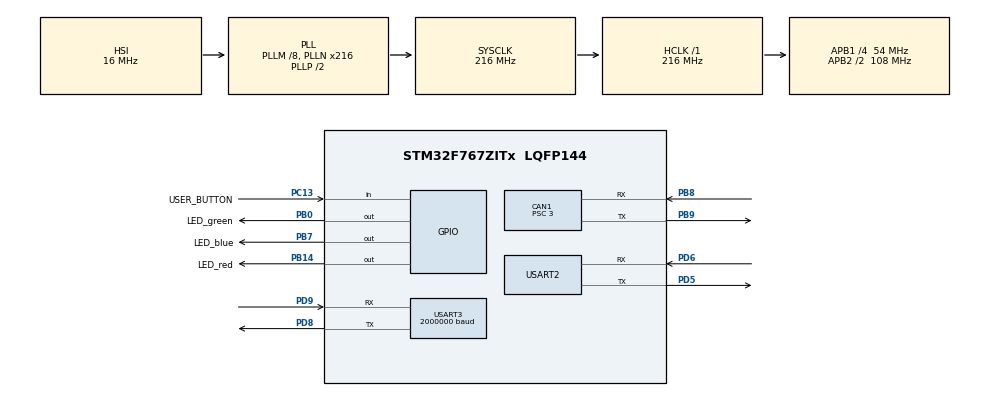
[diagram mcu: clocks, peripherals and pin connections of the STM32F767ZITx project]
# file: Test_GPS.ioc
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CAN1.AWUM=ENABLE
CAN1.BS1=CAN_BS1_15TQ
CAN1.BS2=CAN_BS2_2TQ
CAN1.CalculateTimeQuantum=55.55555555555556
CAN1.NART=ENABLE
CAN1.Prescaler=3
Mcu.Family=STM32F7
Mcu.Name=STM32F767ZITx
Mcu.Package=LQFP144
NVIC.CAN1_RX0_IRQn=true\:0\:0\:false\:true\:true\:3\:true\:true
NVIC.CAN1_RX1_IRQn=true\:0\:0\:false\:true\:true\:2\:true\:true
NVIC.CAN1_SCE_IRQn=true\:0\:0\:false\:true\:true\:1\:true\:true
NVIC.CAN1_TX_IRQn=true\:0\:0\:false\:true\:true\:4\:true\:true
NVIC.PriorityGroup=NVIC_PRIORITYGROUP_4
NVIC.TIM2_IRQn=true\:0\:0\:false\:true\:true\:5\:true\:true
NVIC.USART2_IRQn=true\:0\:0\:false\:false\:true\:true\:true
NVIC.USART3_IRQn=true\:0\:0\:false\:true\:true\:6\:true\:true
PB0.GPIO_Label=LED_green
PB0.Signal=GPIO_Output
PB14.GPIO_Label=LED_red
PB14.Signal=GPIO_Output
PB7.GPIO_Label=LED_blue
PB7.Signal=GPIO_Output
PB8.Mode=Master
PB8.Signal=CAN1_RX
PB9.Mode=Master
PB9.Signal=CAN1_TX
PC13.GPIO_Label=USER_BUTTON
PC13.Signal=GPIO_Input
PD5.Mode=Asynchronous
PD5.Signal=USART2_TX
PD6.Mode=Asynchronous
PD6.Signal=USART2_RX
PD8.Mode=Asynchronous
PD8.Signal=USART3_TX
PD9.Mode=Asynchronous
PD9.Signal=USART3_RX
ProjectManager.HeapSize=0x200
ProjectManager.StackSize=0x400
ProjectManager.TargetToolchain=Makefile
RCC.AHBFreq_Value=216000000
RCC.APB1CLKDivider=RCC_HCLK_DIV4
RCC.APB1Freq_Value=54000000
RCC.APB1TimFreq_Value=108000000
RCC.APB2CLKDivider=RCC_HCLK_DIV2
RCC.APB2Freq_Value=108000000
RCC.APB2TimFreq_Value=216000000
RCC.CortexFreq_Value=216000000
RCC.HCLKFreq_Value=216000000
RCC.HSE_VALUE=25000000
RCC.HSI_VALUE=16000000
RCC.LSE_VALUE=32768
RCC.PLLM=8
RCC.PLLN=216
RCC.PLLQ=9
RCC.SDMMCClockSelection=RCC_SDMMC1CLKSOURCE_CLK48
RCC.SYSCLKFreq_VALUE=216000000
RCC.SYSCLKSource=RCC_SYSCLKSOURCE_PLLCLK
RCC.USBFreq_Value=48000000
RCC.VCOOutputFreq_Value=432000000
TIM2.Period=1000
TIM2.Prescaler=108
USART2.AutoBaudRateEnableParam=UART_ADVFEATURE_AUTOBAUDRATE_DISABLE
USART2.VirtualMode-Asynchronous=VM_ASYNC
USART3.BaudRate=2000000
USART3.VirtualMode-Asynchronous=VM_ASYNC
VP_TIM2_VS_ClockSourceINT.Mode=Internal
board=custom

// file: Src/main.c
/* USER CODE BEGIN Header */
/**
  ******************************************************************************
  * @file           : main.c
  * @brief          : Main program body
  ******************************************************************************
  * @attention
  *
  * <h2><center>&copy; Copyright (c) 2019 STMicroelectronics.
  * All rights reserved.</center></h2>
  *
  * This software component is licensed by ST under Ultimate Liberty license
  * SLA0044, the "License"; You may not use this file except in compliance with
  * the License. You may obtain a copy of the License at:
  *                             www.st.com/SLA0044
  *
  ******************************************************************************
  */
/* USER CODE END Header */

#include "main.h"

/* USER CODE BEGIN Includes */
#include "gps.h"
/* USER CODE END Includes */

CAN_HandleTypeDef hcan1;

TIM_HandleTypeDef htim2;

UART_HandleTypeDef huart2;
UART_HandleTypeDef huart3;

/* USER CODE BEGIN PV */
char msg_gps[3];
char buffer_gps[50];
int cont_char;
int msg_arrived = 0;
char msg_computer[3];
gps_struct gps;
/* USER CODE END PV */

void SystemClock_Config(void);
static void MX_GPIO_Init(void);
static void MX_CAN1_Init(void);
static void MX_TIM2_Init(void);
static void MX_USART2_UART_Init(void);
static void MX_USART3_UART_Init(void);
static void MX_NVIC_Init(void);

int main(void)
{

  /* MCU Configuration--------------------------------------------------------*/

  /* Reset of all peripherals, Initializes the Flash interface and the Systick. */
  HAL_Init();

  /* Configure the system clock */
  SystemClock_Config();

  /* Initialize all configured peripherals */
  MX_GPIO_Init();
  MX_CAN1_Init();
  MX_TIM2_Init();
  MX_USART2_UART_Init();
  MX_USART3_UART_Init();

  /* Initialize interrupts */
  MX_NVIC_Init();
  /* USER CODE BEGIN 2 */
  HAL_UART_Transmit(&huart3,(uint8_t*)"ciao\r\n",6,10);
  gps.huart_gps = &huart2;
  //HAL_GPIO_WritePin(LED_blue_GPIO_Port, LED_blue_Pin, GPIO_PIN_SET);
  /*huart2.Init.BaudRate = 115200;
  if (HAL_UART_DeInit(&huart2) != HAL_OK)
  {
    HAL_UART_Transmit(&huart3,(uint8_t*)"ERRORE 1\r\n",6,10);
  }
	if (HAL_UART_Init(&huart2) != HAL_OK)
  {
    HAL_UART_Transmit(&huart3,(uint8_t*)"ERRORE 2\r\n",6,10);
  }*/
  HAL_UART_Receive_IT(&huart3, (uint8_t *)msg_computer, 1); //request of rx buffer interrupt
  //gps_init(&huart2, &gps);
  /*HAL_NVIC_SetPriority(USART2_IRQn, 0, 0);
  HAL_NVIC_EnableIRQ(USART2_IRQn);*/
  HAL_NVIC_SetPriority(USART2_IRQn, 0, 0);
  HAL_NVIC_EnableIRQ(USART2_IRQn);
  if(HAL_UART_Receive_IT(&huart2, (uint8_t *)msg_gps, 1) != HAL_OK){ //request of rx buffer interrupt
    char txt[100];
    sprintf(txt,"HAL_UART_Receive_IT FAILED\r\n");
    HAL_UART_Transmit(&huart3,(uint8_t*)txt,strlen(txt),10);
  }
  /* USER CODE END 2 */

  /* Infinite loop */
  /* USER CODE BEGIN WHILE */
  while (1)
  {
    gps_read(&huart2, &gps);
    /* USER CODE END WHILE */

  }
}

void SystemClock_Config(void)
{
  RCC_OscInitTypeDef RCC_OscInitStruct = {0};
  RCC_ClkInitTypeDef RCC_ClkInitStruct = {0};
  RCC_PeriphCLKInitTypeDef PeriphClkInitStruct = {0};

  /** Configure the main internal regulator output voltage
  */
  __HAL_RCC_PWR_CLK_ENABLE();
  __HAL_PWR_VOLTAGESCALING_CONFIG(PWR_REGULATOR_VOLTAGE_SCALE1);
  /** Initializes the CPU, AHB and APB busses clocks
  */
  RCC_OscInitStruct.OscillatorType = RCC_OSCILLATORTYPE_HSI;
  RCC_OscInitStruct.HSIState = RCC_HSI_ON;
  RCC_OscInitStruct.HSICalibrationValue = RCC_HSICALIBRATION_DEFAULT;
  RCC_OscInitStruct.PLL.PLLState = RCC_PLL_ON;
  RCC_OscInitStruct.PLL.PLLSource = RCC_PLLSOURCE_HSI;
  RCC_OscInitStruct.PLL.PLLM = 8;
  RCC_OscInitStruct.PLL.PLLN = 216;
  RCC_OscInitStruct.PLL.PLLP = RCC_PLLP_DIV2;
  RCC_OscInitStruct.PLL.PLLQ = 9;
  if (HAL_RCC_OscConfig(&RCC_OscInitStruct) != HAL_OK)
  {
    Error_Handler();
  }
  /** Activate the Over-Drive mode
  */
  if (HAL_PWREx_EnableOverDrive() != HAL_OK)
  {
    Error_Handler();
  }
  /** Initializes the CPU, AHB and APB busses clocks
  */
  RCC_ClkInitStruct.ClockType = RCC_CLOCKTYPE_HCLK|RCC_CLOCKTYPE_SYSCLK
                              |RCC_CLOCKTYPE_PCLK1|RCC_CLOCKTYPE_PCLK2;
  RCC_ClkInitStruct.SYSCLKSource = RCC_SYSCLKSOURCE_PLLCLK;
  RCC_ClkInitStruct.AHBCLKDivider = RCC_SYSCLK_DIV1;
  RCC_ClkInitStruct.APB1CLKDivider = RCC_HCLK_DIV4;
  RCC_ClkInitStruct.APB2CLKDivider = RCC_HCLK_DIV2;

  if (HAL_RCC_ClockConfig(&RCC_ClkInitStruct, FLASH_LATENCY_7) != HAL_OK)
  {
    Error_Handler();
  }
  PeriphClkInitStruct.PeriphClockSelection = RCC_PERIPHCLK_USART2|RCC_PERIPHCLK_USART3;
  PeriphClkInitStruct.Usart2ClockSelection = RCC_USART2CLKSOURCE_PCLK1;
  PeriphClkInitStruct.Usart3ClockSelection = RCC_USART3CLKSOURCE_PCLK1;
  if (HAL_RCCEx_PeriphCLKConfig(&PeriphClkInitStruct) != HAL_OK)
  {
    Error_Handler();
  }
}

/**
  * @brief NVIC Configuration.
  * @retval None
  */
static void MX_NVIC_Init(void)
{
  /* CAN1_SCE_IRQn interrupt configuration */
  HAL_NVIC_SetPriority(CAN1_SCE_IRQn, 0, 0);
  HAL_NVIC_EnableIRQ(CAN1_SCE_IRQn);
  /* CAN1_RX1_IRQn interrupt configuration */
  HAL_NVIC_SetPriority(CAN1_RX1_IRQn, 0, 0);
  HAL_NVIC_EnableIRQ(CAN1_RX1_IRQn);
  /* CAN1_RX0_IRQn interrupt configuration */
  HAL_NVIC_SetPriority(CAN1_RX0_IRQn, 0, 0);
  HAL_NVIC_EnableIRQ(CAN1_RX0_IRQn);
  /* CAN1_TX_IRQn interrupt configuration */
  HAL_NVIC_SetPriority(CAN1_TX_IRQn, 0, 0);
  HAL_NVIC_EnableIRQ(CAN1_TX_IRQn);
  /* TIM2_IRQn interrupt configuration */
  HAL_NVIC_SetPriority(TIM2_IRQn, 0, 0);
  HAL_NVIC_EnableIRQ(TIM2_IRQn);
  /* USART3_IRQn interrupt configuration */
  HAL_NVIC_SetPriority(USART3_IRQn, 0, 0);
  HAL_NVIC_EnableIRQ(USART3_IRQn);
}

static void MX_CAN1_Init(void)
{

  hcan1.Instance = CAN1;
  hcan1.Init.Prescaler = 3;
  hcan1.Init.Mode = CAN_MODE_NORMAL;
  hcan1.Init.SyncJumpWidth = CAN_SJW_1TQ;
  hcan1.Init.TimeSeg1 = CAN_BS1_15TQ;
  hcan1.Init.TimeSeg2 = CAN_BS2_2TQ;
  hcan1.Init.TimeTriggeredMode = DISABLE;
  hcan1.Init.AutoBusOff = DISABLE;
  hcan1.Init.AutoWakeUp = ENABLE;
  hcan1.Init.AutoRetransmission = ENABLE;
  hcan1.Init.ReceiveFifoLocked = DISABLE;
  hcan1.Init.TransmitFifoPriority = DISABLE;
  if (HAL_CAN_Init(&hcan1) != HAL_OK)
  {
    Error_Handler();
  }

}

static void MX_TIM2_Init(void)
{

  TIM_ClockConfigTypeDef sClockSourceConfig = {0};
  TIM_MasterConfigTypeDef sMasterConfig = {0};

  htim2.Instance = TIM2;
  htim2.Init.Prescaler = 108;
  htim2.Init.CounterMode = TIM_COUNTERMODE_UP;
  htim2.Init.Period = 1000;
  htim2.Init.ClockDivision = TIM_CLOCKDIVISION_DIV1;
  htim2.Init.AutoReloadPreload = TIM_AUTORELOAD_PRELOAD_DISABLE;
  if (HAL_TIM_Base_Init(&htim2) != HAL_OK)
  {
    Error_Handler();
  }
  sClockSourceConfig.ClockSource = TIM_CLOCKSOURCE_INTERNAL;
  if (HAL_TIM_ConfigClockSource(&htim2, &sClockSourceConfig) != HAL_OK)
  {
    Error_Handler();
  }
  sMasterConfig.MasterOutputTrigger = TIM_TRGO_RESET;
  sMasterConfig.MasterSlaveMode = TIM_MASTERSLAVEMODE_DISABLE;
  if (HAL_TIMEx_MasterConfigSynchronization(&htim2, &sMasterConfig) != HAL_OK)
  {
    Error_Handler();
  }

}

static void MX_USART2_UART_Init(void)
{

  huart2.Instance = USART2;
  huart2.Init.BaudRate = 115200;
  huart2.Init.WordLength = UART_WORDLENGTH_8B;
  huart2.Init.StopBits = UART_STOPBITS_1;
  huart2.Init.Parity = UART_PARITY_NONE;
  huart2.Init.Mode = UART_MODE_TX_RX;
  huart2.Init.HwFlowCtl = UART_HWCONTROL_NONE;
  huart2.Init.OverSampling = UART_OVERSAMPLING_16;
  huart2.Init.OneBitSampling = UART_ONE_BIT_SAMPLE_DISABLE;
  huart2.AdvancedInit.AdvFeatureInit = UART_ADVFEATURE_NO_INIT;
  if (HAL_UART_Init(&huart2) != HAL_OK)
  {
    Error_Handler();
  }

}

static void MX_USART3_UART_Init(void)
{

  huart3.Instance = USART3;
  huart3.Init.BaudRate = 2000000;
  huart3.Init.WordLength = UART_WORDLENGTH_8B;
  huart3.Init.StopBits = UART_STOPBITS_1;
  huart3.Init.Parity = UART_PARITY_NONE;
  huart3.Init.Mode = UART_MODE_TX_RX;
  huart3.Init.HwFlowCtl = UART_HWCONTROL_NONE;
  huart3.Init.OverSampling = UART_OVERSAMPLING_16;
  huart3.Init.OneBitSampling = UART_ONE_BIT_SAMPLE_DISABLE;
  huart3.AdvancedInit.AdvFeatureInit = UART_ADVFEATURE_NO_INIT;
  if (HAL_UART_Init(&huart3) != HAL_OK)
  {
    Error_Handler();
  }

}

static void MX_GPIO_Init(void)
{
  GPIO_InitTypeDef GPIO_InitStruct = {0};

  /* GPIO Ports Clock Enable */
  __HAL_RCC_GPIOC_CLK_ENABLE();
  __HAL_RCC_GPIOB_CLK_ENABLE();
  __HAL_RCC_GPIOD_CLK_ENABLE();

  /*Configure GPIO pin Output Level */
  HAL_GPIO_WritePin(GPIOB, LED_green_Pin|LED_red_Pin|LED_blue_Pin, GPIO_PIN_RESET);

  /*Configure GPIO pin : USER_BUTTON_Pin */
  GPIO_InitStruct.Pin = USER_BUTTON_Pin;
  GPIO_InitStruct.Mode = GPIO_MODE_INPUT;
  GPIO_InitStruct.Pull = GPIO_NOPULL;
  HAL_GPIO_Init(USER_BUTTON_GPIO_Port, &GPIO_InitStruct);

  /*Configure GPIO pins : LED_green_Pin LED_red_Pin LED_blue_Pin */
  GPIO_InitStruct.Pin = LED_green_Pin|LED_red_Pin|LED_blue_Pin;
  GPIO_InitStruct.Mode = GPIO_MODE_OUTPUT_PP;
  GPIO_InitStruct.Pull = GPIO_NOPULL;
  GPIO_InitStruct.Speed = GPIO_SPEED_FREQ_LOW;
  HAL_GPIO_Init(GPIOB, &GPIO_InitStruct);

}

/* USER CODE BEGIN 4 */
void HAL_UART_RxCpltCallback(UART_HandleTypeDef *huart)
{
    if (huart == gps.huart_gps)
    {
        buffer_gps[msg_arrived] = msg_gps[0];
        msg_arrived++;
        if(msg_arrived == 50){
          msg_arrived = 0;
        }
        HAL_GPIO_TogglePin(LED_blue_GPIO_Port, LED_blue_Pin);
        HAL_UART_Transmit(&huart3,(uint8_t*)msg_gps,1,10);
        HAL_UART_Receive_IT(huart, (uint8_t *)msg_gps, 1); //request of rx buffer interrupt

    }else if(huart == &huart3){
        HAL_UART_Transmit(&huart3,(uint8_t*)msg_computer,1,10);
        HAL_UART_Receive_IT(&huart3, (uint8_t *)msg_computer, 1); //request of rx buffer interrupt
    }
}
void HAL_UART_ErrorCallback(UART_HandleTypeDef *huart){
  int errore = HAL_UART_GetError(huart);
  char txt[100];
  sprintf(txt,"CALLBACK ERRORE %d\r\n",errore);
  HAL_UART_Transmit(&huart3,(uint8_t*)txt,strlen(txt),10);
}
void HAL_UART_AbortReceiveCpltCallback(UART_HandleTypeDef *huart){
  int errore = HAL_UART_GetError(huart);
  char txt[100];
  sprintf(txt,"CALLBACK ABORT RECIVE %d\r\n",errore);
  HAL_UART_Transmit(&huart3,(uint8_t*)txt,strlen(txt),10);
}
/* USER CODE END 4 */

void Error_Handler(void)
{
}

/************************ (C) COPYRIGHT STMicroelectronics *****END OF FILE****/
